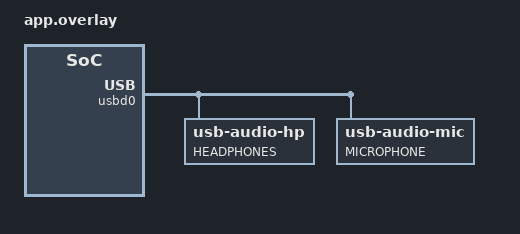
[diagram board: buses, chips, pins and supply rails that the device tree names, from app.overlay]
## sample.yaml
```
sample:
  name: USB audio Headphones Microphone sample
tests:
  sample.usb.audio.headphones_microphone:
    depends_on: usb_device
    tags: usb
    filter: dt_alias_exists("usbd0")
    integration_platforms:
        - nrf52840dk_nrf52840
        - nrf5340dk_nrf5340_cpuapp
    harness: console
    harness_config:
      type: multi_line
      ordered: true
      regex:
        - "Entered main"
        - "Found USB Headphones Device"
        - "Found USB Microphone Device"
        - "USB enabled"
```

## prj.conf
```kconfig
CONFIG_STDOUT_CONSOLE=y

#USB related configs
CONFIG_USB=y
CONFIG_USB_DEVICE_STACK=y
CONFIG_USB_DEVICE_PRODUCT="Zephyr USB audio sample"

#LOG subsystem related configs
CONFIG_LOG=y
CONFIG_USB_DRIVER_LOG_LEVEL_ERR=y
CONFIG_USB_DEVICE_LOG_LEVEL_ERR=y

#net buf options
CONFIG_NET_BUF=y
CONFIG_NET_BUF_USER_DATA_SIZE=0

#USB audio related configs
CONFIG_USB_DEVICE_AUDIO=y
```

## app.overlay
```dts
/*
 * Copyright (c) 2019 Nordic Semiconductor ASA
 *
 * SPDX-License-Identifier: Apache-2.0
 */

/ {
	usbd0 {
		hp_0 {
			label = "HEADPHONES";
			compatible = "usb-audio-hp";
			feature-mute;
			channel-l;
			channel-r;
		};
		mic_0 {
			label = "MICROPHONE";
			compatible = "usb-audio-mic";
			feature-mute;
			channel-l;
			channel-r;
		};
	};
};
```

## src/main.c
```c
/*
 * Copyright (c) 2020 Nordic Semiconductor ASA
 *
 * SPDX-License-Identifier: Apache-2.0
 */

/**
 * @file
 * @brief Sample app for Audio class
 */

#include <zephyr.h>
#include <logging/log.h>
#include <usb/usb_device.h>
#include <usb/class/usb_audio.h>

LOG_MODULE_REGISTER(main, LOG_LEVEL_INF);

static const struct device *mic_dev;

static void data_received(const struct device *dev,
			  struct net_buf *buffer,
			  size_t size)
{
	int ret;

	if (!buffer || !size) {
		/* This should never happen */
		return;
	}

	LOG_DBG("Received %d data, buffer %p", size, buffer);

	/* Check if OUT device buffer can be used for IN device */
	if (size == usb_audio_get_in_frame_size(mic_dev)) {
		ret = usb_audio_send(mic_dev, buffer, size);
		if (ret) {
			net_buf_unref(buffer);
		}
	} else {
		net_buf_unref(buffer);
	}
}

static void feature_update(const struct device *dev,
			   const struct usb_audio_fu_evt *evt)
{
	LOG_DBG("Control selector %d for channel %d updated",
		evt->cs, evt->channel);
	switch (evt->cs) {
	case USB_AUDIO_FU_MUTE_CONTROL:
	default:
		break;
	}
}

static const struct usb_audio_ops hp_ops = {
	.data_received_cb = data_received,
	.feature_update_cb = feature_update,
};

static const struct usb_audio_ops mic_ops = {
	.feature_update_cb = feature_update,
};

void main(void)
{
	const struct device *hp_dev = device_get_binding("HEADPHONES");
	int ret;

	LOG_INF("Entered %s", __func__);
	mic_dev = device_get_binding("MICROPHONE");

	if (!hp_dev) {
		LOG_ERR("Can not get USB Headphones Device");
		return;
	}

	LOG_INF("Found USB Headphones Device");

	if (!mic_dev) {
		LOG_ERR("Can not get USB Microphone Device");
		return;
	}

	LOG_INF("Found USB Microphone Device");

	usb_audio_register(hp_dev, &hp_ops);

	usb_audio_register(mic_dev, &mic_ops);

	ret = usb_enable(NULL);
	if (ret != 0) {
		LOG_ERR("Failed to enable USB");
		return;
	}

	LOG_INF("USB enabled");
}
```
